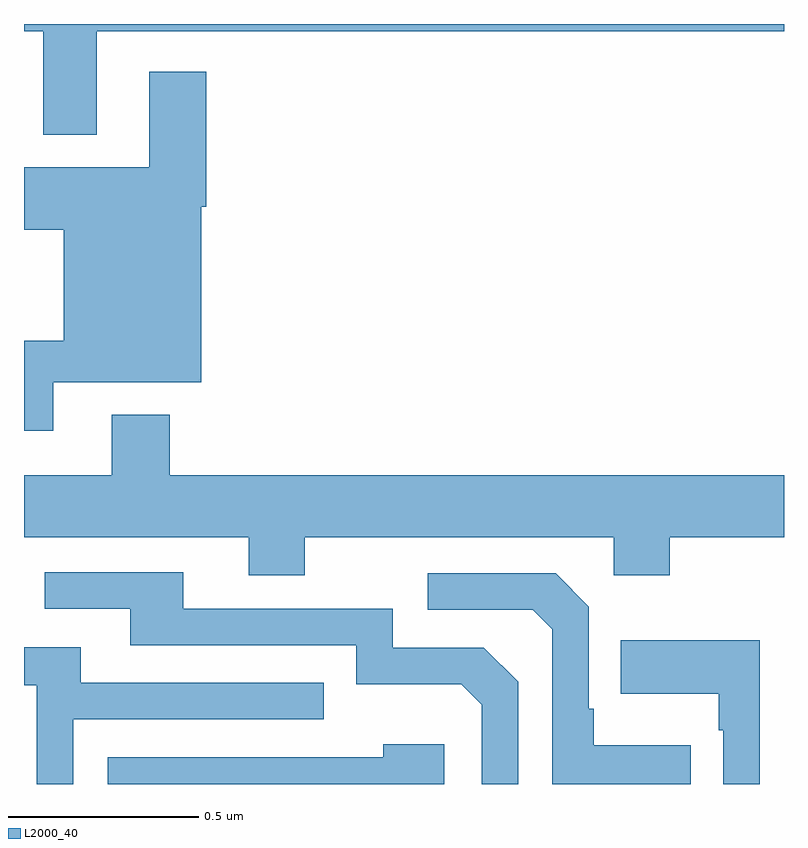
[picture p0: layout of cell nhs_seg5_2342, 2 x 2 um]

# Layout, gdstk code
import gdstk
lib = gdstk.Library(unit=1e-6, precision=1e-09)
def P(c, l, *ps):  # polygons
    for p in ps: c.add(gdstk.Polygon(p, *l))
L2000_40 = (2000, 40)

nhs_seg5_2342 = lib.new_cell('nhs_seg5_2342')
P(nhs_seg5_2342, L2000_40, [(143.191,836.78),(145,836.78),(145,836.799),(143,836.799),(143,836.78),(143.051,836.78),(143.051,836.507),(143.191,836.507)],
  [(143.077,835.856),(143.467,835.856),(143.467,836.318),(143.48,836.318),(143.48,836.674),(143.33,836.674),(143.33,836.422),(143,836.422),(143,836.258),(143.105,836.258),(143.105,835.966),(143,835.966),(143,835.728),(143.077,835.728)],
  [(143.739,835.448),(144.552,835.448),(144.552,835.349),(144.699,835.349),(144.699,835.448),(145,835.448),(145,835.612),(143.384,835.612),(143.384,835.771),(143.231,835.771),(143.231,835.612),(143,835.612),(143,835.448),(143.591,835.448),(143.591,835.349),(143.739,835.349)],
  [(144.3,835.068),(144.21,835.158),(143.97,835.158),(143.97,835.26),(143.419,835.26),(143.419,835.356),(143.055,835.356),(143.055,835.26),(143.279,835.26),(143.279,835.164),(143.874,835.164),(143.874,835.061),(144.151,835.061),(144.204,835.008),(144.204,834.799),(144.3,834.799)],
  [(144.755,834.901),(144.499,834.901),(144.499,834.997),(144.486,834.997),(144.486,835.266),(144.399,835.353),(144.063,835.353),(144.063,835.257),(144.339,835.257),(144.39,835.206),(144.39,834.799),(144.755,834.799)],
  [(144.936,835.177),(144.571,835.177),(144.571,835.037),(144.828,835.037),(144.828,834.941),(144.84,834.941),(144.84,834.799),(144.936,834.799)],
  [(143.13,834.969),(143.789,834.969),(143.789,835.065),(143.149,835.065),(143.149,835.159),(143,835.159),(143,835.059),(143.034,835.059),(143.034,834.799),(143.13,834.799)],
  [(144.106,834.904),(143.945,834.904),(143.945,834.87),(143.22,834.87),(143.22,834.799),(144.106,834.799)])

lib.write_gds('nhs_seg5_2342.gds')
